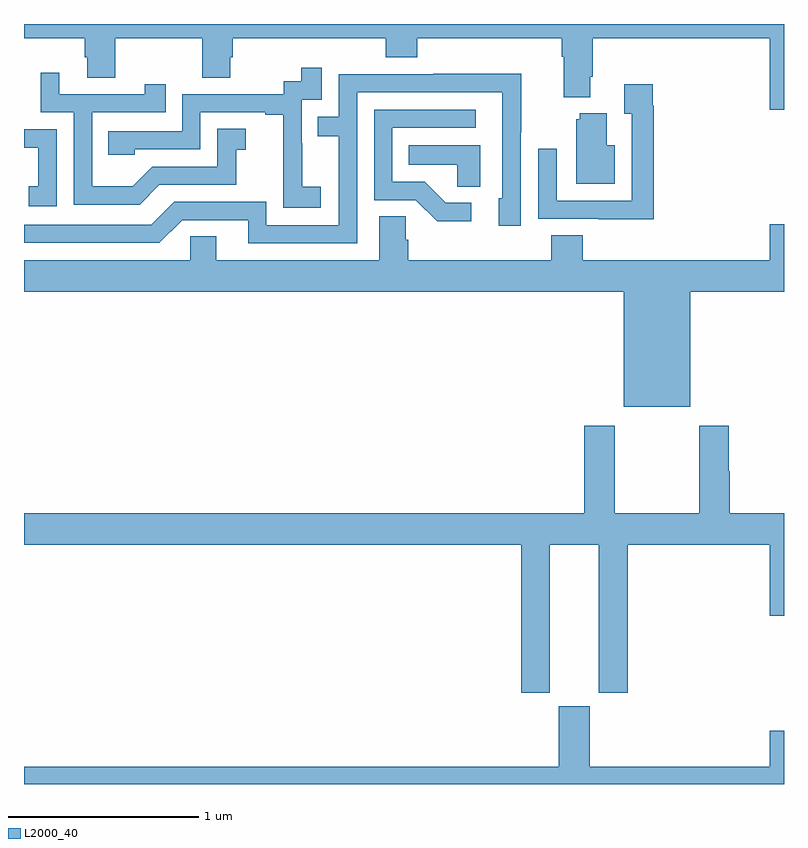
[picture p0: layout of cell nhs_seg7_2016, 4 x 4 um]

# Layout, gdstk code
import gdstk
lib = gdstk.Library(unit=1e-6, precision=1e-09)
def P(c, l, *ps):  # polygons
    for p in ps: c.add(gdstk.Polygon(p, *l))
L2000_40 = (2000, 40)

nhs_seg7_2016 = lib.new_cell('nhs_seg7_2016')
P(nhs_seg7_2016, L2000_40, [(249,1026),(245,1026),(245,1025.924),(245.321,1025.924),(245.321,1025.826),(245.333,1025.826),(245.333,1025.716),(245.481,1025.716),(245.481,1025.924),(245.938,1025.924),(245.938,1025.716),(246.085,1025.716),(246.085,1025.826),(246.098,1025.826),(246.098,1025.924),(246.905,1025.924),(246.905,1025.825),(247.07,1025.825),(247.07,1025.924),(247.829,1025.924),(247.829,1025.828),(247.841,1025.828),(247.841,1025.615),(247.981,1025.615),(247.981,1025.722),(247.994,1025.722),(247.994,1025.924),(248.924,1025.924),(248.924,1025.55),(249,1025.55)],
  [(246.562,1025.143),(246.464,1025.143),(246.464,1025.372),(246.462,1025.372),(246.462,1025.601),(246.567,1025.601),(246.567,1025.77),(246.459,1025.77),(246.459,1025.7),(246.366,1025.7),(246.366,1025.631),(245.832,1025.631),(245.832,1025.436),(245.443,1025.436),(245.443,1025.313),(245.583,1025.313),(245.583,1025.34),(245.928,1025.34),(245.928,1025.535),(246.269,1025.535),(246.269,1025.523),(246.365,1025.523),(246.365,1025.239),(246.364,1025.239),(246.364,1025.033),(246.562,1025.033)],
  [(245.713,1025.154),(246.117,1025.154),(246.117,1025.339),(246.166,1025.339),(246.166,1025.449),(246.018,1025.449),(246.018,1025.25),(245.676,1025.25),(245.572,1025.146),(245.358,1025.146),(245.358,1025.535),(245.747,1025.535),(245.747,1025.683),(245.636,1025.683),(245.636,1025.631),(245.185,1025.631),(245.185,1025.743),(245.088,1025.743),(245.088,1025.535),(245.262,1025.535),(245.262,1025.049),(245.608,1025.049)],
  [(246.753,1025.64),(247.518,1025.64),(247.518,1025.082),(247.499,1025.082),(247.499,1024.938),(247.614,1024.938),(247.614,1025.431),(247.617,1025.431),(247.617,1025.738),(247.153,1025.738),(247.153,1025.736),(246.657,1025.736),(246.657,1025.511),(246.547,1025.511),(246.547,1025.41),(246.657,1025.41),(246.657,1024.941),(246.276,1024.941),(246.276,1025.064),(245.79,1025.064),(245.67,1024.944),(245,1024.944),(245,1024.848),(245.712,1024.848),(245.832,1024.968),(246.179,1024.968),(246.179,1024.845),(246.753,1024.845)],
  [(248.315,1025.57),(248.308,1025.57),(248.308,1025.683),(248.159,1025.683),(248.159,1025.527),(248.199,1025.527),(248.199,1025.07),(247.803,1025.07),(247.803,1025.344),(247.707,1025.344),(247.707,1024.974),(248.023,1024.974),(248.023,1024.973),(248.315,1024.973)],
  [(247.354,1025.058),(247.219,1025.058),(247.108,1025.169),(246.939,1025.169),(246.939,1025.454),(247.378,1025.454),(247.378,1025.55),(246.843,1025.55),(246.843,1025.073),(247.062,1025.073),(247.175,1024.961),(247.354,1024.961)],
  [(248.11,1025.362),(248.068,1025.362),(248.068,1025.53),(247.925,1025.53),(247.925,1025.499),(247.907,1025.499),(247.907,1025.159),(248.11,1025.159)],
  [(245.172,1025.445),(245,1025.445),(245,1025.349),(245.075,1025.349),(245.075,1025.145),(245.026,1025.145),(245.026,1025.04),(245.172,1025.04)],
  [(247.402,1025.362),(247.024,1025.362),(247.024,1025.258),(247.281,1025.258),(247.281,1025.143),(247.402,1025.143)],
  [(248.506,1024.592),(249,1024.592),(249,1024.945),(248.924,1024.945),(248.924,1024.756),(247.94,1024.756),(247.94,1024.889),(247.775,1024.889),(247.775,1024.756),(247.022,1024.756),(247.022,1024.865),(247.008,1024.865),(247.008,1024.988),(246.869,1024.988),(246.869,1024.756),(246.013,1024.756),(246.013,1024.883),(245.874,1024.883),(245.874,1024.756),(245,1024.756),(245,1024.592),(248.156,1024.592),(248.156,1023.986),(248.506,1023.986)],
  [(247.768,1023.26),(248.024,1023.26),(248.024,1022.481),(248.177,1022.481),(248.177,1023.26),(248.924,1023.26),(248.924,1022.886),(249,1022.886),(249,1023.424),(248.714,1023.424),(248.714,1023.647),(248.709,1023.647),(248.709,1023.886),(248.554,1023.886),(248.554,1023.424),(248.109,1023.424),(248.109,1023.886),(247.949,1023.886),(247.949,1023.424),(245,1023.424),(245,1023.26),(247.616,1023.26),(247.616,1022.481),(247.768,1022.481)],
  [(249,1022.281),(248.924,1022.281),(248.924,1022.092),(247.978,1022.092),(247.978,1022.409),(247.814,1022.409),(247.814,1022.092),(245,1022.092),(245,1022),(249,1022)])

lib.write_gds('nhs_seg7_2016.gds')
